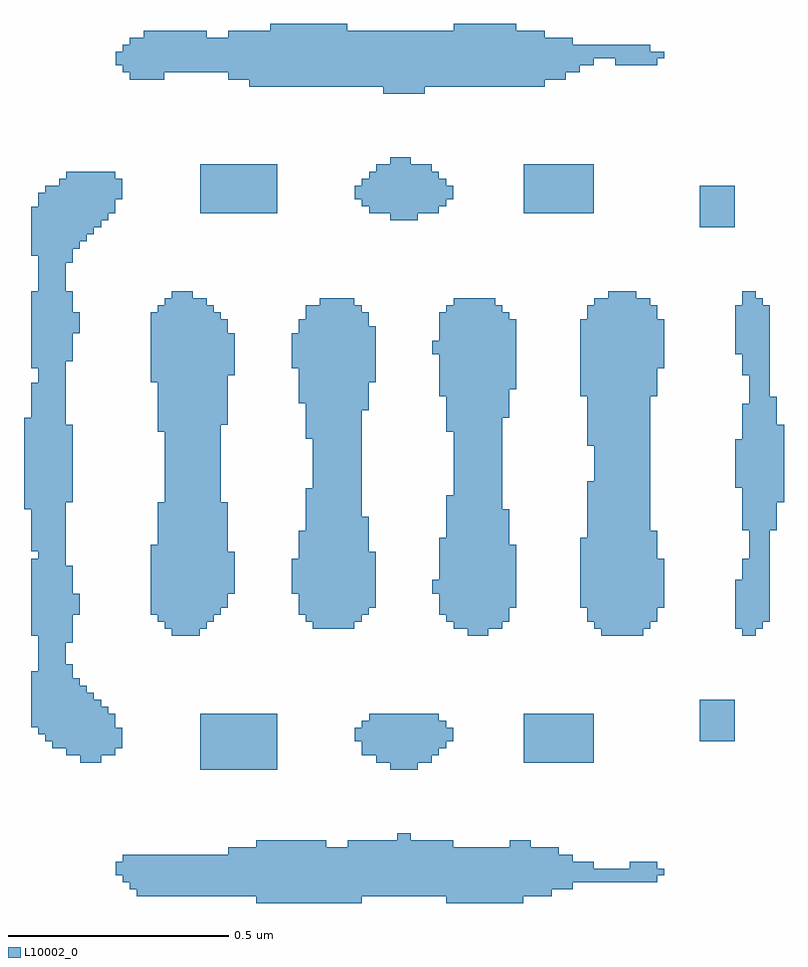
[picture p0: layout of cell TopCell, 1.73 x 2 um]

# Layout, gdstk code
import gdstk
lib = gdstk.Library(unit=1e-6, precision=1e-09)
def R(c, l, rs):  # rectangles x0, y0, x1, y1
    for r in rs: c.add(gdstk.rectangle(r[:2], r[2:], *l))
L10002_0 = (10002, 0)

topcell = lib.new_cell('TopCell')
R(topcell, L10002_0, [(1.312,0.416,1.471,0.559), (1.471,0.416,1.551,0.543), (1.744,0.416,1.759,0.559), (1.759,0.416,1.919,0.543), (1.04,0.432,1.312,0.527), (1.551,0.432,1.744,0.559), (1.919,0.432,1.935,0.559), (1.935,0.432,1.983,0.543), (1.024,0.448,1.04,0.527), (1.983,0.448,1.999,0.543), (1.999,0.448,2.031,0.527), (1.008,0.464,1.024,0.527), (2.031,0.464,2.079,0.511), (2.079,0.464,2.223,0.495), (0.992,0.48,1.008,0.511), (2.223,0.48,2.239,0.495), (2.16,0.495,2.223,0.511), (1.248,0.527,1.312,0.543), (1.52,0.543,1.551,0.559), (1.888,0.543,1.919,0.559), (1.632,0.559,1.663,0.575), (1.184,0.72,1.359,0.847), (1.616,0.72,1.679,0.847), (0.912,0.736,0.927,0.911), (0.927,0.736,0.943,0.895), (0.943,0.736,0.959,0.879), (1.584,0.736,1.616,0.847), (1.679,0.736,1.711,0.847), (1.92,0.736,2.079,0.847), (0.88,0.752,0.895,0.959), (0.895,0.752,0.911,0.927), (0.911,0.752,0.912,0.911), (0.959,0.752,0.975,0.863), (0.975,0.752,0.991,0.847), (1.552,0.752,1.584,0.831), (1.711,0.752,1.727,0.847), (0.848,0.768,0.879,2.047), (0.879,0.768,0.88,0.959), (0.991,0.768,1.007,0.815), (1.727,0.768,1.743,0.831), (0.832,0.784,0.848,2.047), (1.536,0.784,1.552,0.815), (1.743,0.784,1.759,0.815), (2.32,0.784,2.399,0.879), (0.816,0.8,0.832,2.031), (0.8,0.816,0.816,0.943), (1.568,0.831,1.584,0.847), (0.879,1.008,0.895,1.183), (0.8,1.024,0.816,1.199), (1.12,1.024,1.167,1.807), (1.167,1.024,1.183,1.791), (1.792,1.024,1.839,1.791), (2.096,1.024,2.191,1.791), (2.416,1.024,2.447,1.199), (1.104,1.04,1.12,1.791), (1.183,1.04,1.199,1.791), (1.44,1.04,1.535,1.775), (1.76,1.04,1.792,1.791), (1.839,1.04,1.855,1.791), (1.855,1.04,1.871,1.775), (2.08,1.04,2.096,1.791), (2.191,1.04,2.207,1.791), (2.4,1.04,2.416,1.151), (2.447,1.04,2.463,1.791), (1.088,1.056,1.104,1.327), (1.199,1.056,1.215,1.775), (1.424,1.056,1.44,1.359), (1.535,1.056,1.551,1.775), (1.744,1.056,1.76,1.343), (1.871,1.056,1.887,1.311), (2.064,1.056,2.08,1.375), (2.207,1.056,2.223,1.263), (2.463,1.056,2.479,1.775), (0.895,1.072,0.911,1.119), (1.072,1.072,1.088,1.231), (1.215,1.072,1.231,1.759), (1.408,1.072,1.424,1.263), (1.551,1.072,1.567,1.295), (1.728,1.072,1.744,1.247), (1.231,1.088,1.247,1.327), (1.567,1.088,1.583,1.215), (1.887,1.088,1.903,1.231), (2.048,1.088,2.064,1.247), (2.223,1.088,2.239,1.199), (1.247,1.12,1.263,1.215), (1.392,1.12,1.408,1.199), (1.712,1.12,1.728,1.151), (2.432,1.199,2.447,1.807), (0.8,1.216,0.816,1.599), (2.416,1.264,2.432,1.551), (2.479,1.264,2.495,1.567), (0.784,1.312,0.8,1.519), (0.879,1.328,0.895,1.503), (2.495,1.328,2.511,1.503), (2.4,1.36,2.416,1.471), (2.064,1.456,2.08,1.775), (1.424,1.472,1.44,1.775), (1.088,1.488,1.104,1.775), (1.744,1.488,1.76,1.775), (1.231,1.504,1.247,1.743), (1.871,1.52,1.887,1.759), (1.551,1.536,1.567,1.759), (1.408,1.552,1.424,1.743), (1.728,1.568,1.744,1.759), (2.048,1.568,2.064,1.743), (2.207,1.568,2.223,1.775), (1.887,1.584,1.903,1.743), (1.072,1.6,1.088,1.759), (1.567,1.6,1.583,1.727), (1.247,1.616,1.263,1.711), (2.416,1.616,2.432,1.807), (0.8,1.632,0.816,1.807), (1.392,1.632,1.408,1.711), (2.223,1.632,2.239,1.743), (0.879,1.648,0.895,1.807), (1.712,1.664,1.728,1.695), (2.4,1.664,2.416,1.775), (0.895,1.712,0.911,1.759), (1.456,1.775,1.535,1.791), (2.112,1.791,2.175,1.807), (0.879,1.872,0.895,2.063), (0.8,1.888,0.816,1.999), (0.895,1.904,0.911,2.079), (0.911,1.92,0.927,2.079), (0.927,1.936,0.943,2.079), (0.943,1.952,0.959,2.079), (2.32,1.952,2.399,2.047), (0.959,1.968,0.975,2.079), (1.616,1.968,1.663,2.111), (1.663,1.968,1.679,2.095), (0.975,1.984,0.991,2.079), (1.184,1.984,1.359,2.095), (1.568,1.984,1.616,2.079), (1.679,1.984,1.711,2.095), (1.711,1.984,1.727,2.079), (1.92,1.984,2.079,2.095), (1.552,2,1.568,2.063), (1.727,2,1.743,2.063), (0.991,2.016,1.007,2.063), (1.536,2.016,1.552,2.047), (1.743,2.016,1.759,2.047), (0.864,2.047,0.879,2.063), (0.88,2.063,0.895,2.079), (1.584,2.079,1.616,2.095), (1.6,2.256,1.695,2.399), (1.296,2.272,1.6,2.399), (1.695,2.272,1.967,2.399), (1.024,2.288,1.103,2.383), (1.248,2.288,1.296,2.399), (1.967,2.288,2.015,2.383), (1.008,2.304,1.024,2.367), (1.103,2.304,1.199,2.399), (1.199,2.304,1.248,2.383), (2.015,2.304,2.031,2.383), (2.031,2.304,2.047,2.367), (0.992,2.32,1.008,2.351), (2.047,2.32,2.079,2.367), (2.128,2.32,2.207,2.367), (2.207,2.32,2.223,2.351), (2.079,2.336,2.128,2.367), (2.223,2.336,2.239,2.351), (1.056,2.383,1.103,2.399), (1.344,2.399,1.519,2.415), (1.76,2.399,1.903,2.415)])

lib.write_gds('TopCell.gds')
